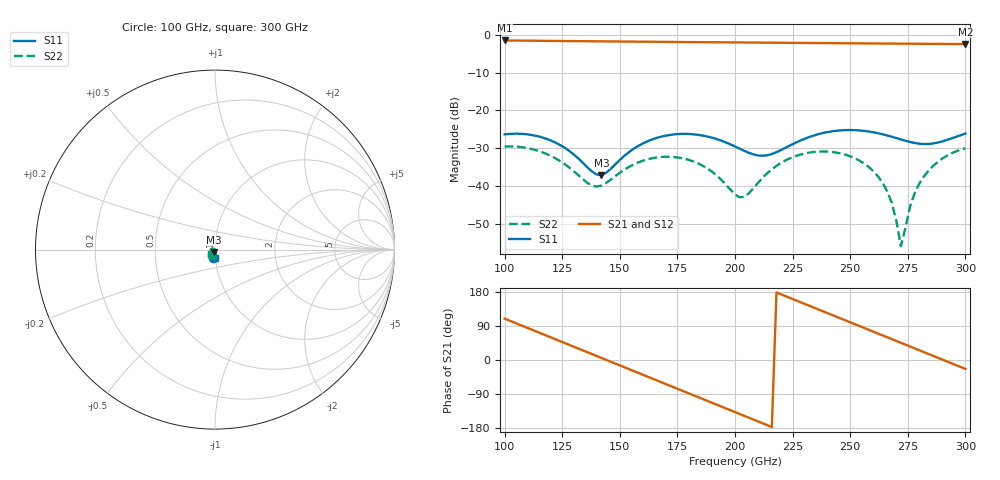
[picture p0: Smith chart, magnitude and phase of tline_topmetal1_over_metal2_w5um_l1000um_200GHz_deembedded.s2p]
! Created with skrf 2.0.1 (http://scikit-rf.org).
# GHz S DB R 50.0
!freq dBS11 angS11 dBS21 angS21 dBS12 angS12 dBS22 angS22
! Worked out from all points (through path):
!   101 points, 100 GHz to 300 GHz, reference 50 ohm
!   highest |S21| = -1.50 dB at 100 GHz (marker M1); lowest = -2.5 dB at 300 GHz (marker M2)
!   group delay of S21, straight-line fit = 6.84 ps
!   lowest |S11| = -37.1 dB at 142 GHz (marker M3), VSWR 1.03, Z = 49.5 - j1.31 ohm
!   |S11| at or under -10 dB: start of sweep to end of sweep
!   |S22| runs from -55.9 to -29.5 dB; largest |S21 - S12| = 9.3e-14
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100  -26.36 -101.4  -1.50 109.2  -1.50 109.2  -29.58 -118.2
116  -27.10 -131.6  -1.60 69.7  -1.60 69.7  -30.99 -152.0
134  -33.89 -144.6  -1.70 25.3  -1.70 25.3  -38.23 -163.4
142  -37.09 -109.4  -1.74 5.5  -1.74 5.5  -39.90 -132.0
154  -31.03 -79.2  -1.80 -24.1  -1.80 -24.1  -34.94 -117.8
168  -26.95 -94.2  -1.87 -58.6  -1.87 -58.6  -32.32 -139.2
184  -26.47 -117.4  -1.95 -98.0  -1.95 -98.0  -34.02 -168.4
200  -29.55 -128.5  -2.03 -137.4  -2.03 -137.4  -42.22 -161.2
204  -30.70 -125.4  -2.04 -147.3  -2.04 -147.3  -42.88 -134.4
216  -31.54 -98.1  -2.10 -176.9  -2.10 -176.9  -35.59 -109.9
224  -29.25 -87.8  -2.13 163.4  -2.13 163.4  -32.64 -121.7
234  -26.69 -90.7  -2.18 138.8  -2.18 138.8  -31.01 -142.2
246  -25.28 -102.7  -2.24 109.3  -2.24 109.3  -31.41 -169.5
256  -25.42 -113.0  -2.28 84.7  -2.28 84.7  -34.04 167.5
264  -26.31 -118.6  -2.32 65.0  -2.32 65.0  -39.11 151.3
268  -26.96 -119.5  -2.33 55.2  -2.33 55.2  -44.39 148.1
270  -27.32 -119.4  -2.34 50.3  -2.34 50.3  -49.11 154.4
272  -27.68 -118.7  -2.35 45.4  -2.35 45.4  -55.92 -161.6
276  -28.36 -115.6  -2.37 35.5  -2.37 35.5  -45.41 -83.8
282  -28.91 -107.3  -2.39 20.8  -2.39 20.8  -37.46 -88.9
290  -28.20 -95.3  -2.42 1.1  -2.42 1.1  -32.74 -106.8
300  -26.14 -90.4  -2.47 -23.5  -2.47 -23.5  -30.01 -131.9
